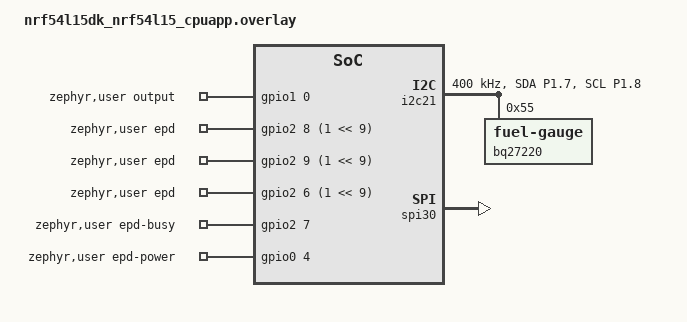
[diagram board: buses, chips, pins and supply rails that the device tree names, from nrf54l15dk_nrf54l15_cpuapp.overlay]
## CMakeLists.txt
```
cmake_minimum_required(VERSION 3.20.0)
find_package(Zephyr REQUIRED HINTS $ENV{ZEPHYR_BASE})

project(6colorpcbtest)

target_sources(app PRIVATE
  src/main.c
  src/battery_status.c
  src/bq27220.c
  src/ble/ble_image_transfer.c
  src/epd_driver.c
  src/dev_config.c
)
```

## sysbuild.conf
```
# Build and include MCUboot in the merged flash image.
SB_CONFIG_BOOTLOADER_MCUBOOT=y
```

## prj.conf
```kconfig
# UART20 status output and existing project peripherals.
CONFIG_SERIAL=n
CONFIG_CONSOLE=n
CONFIG_UART_CONSOLE=n
CONFIG_LOG=n
CONFIG_ADC_NRFX_SAADC=n
CONFIG_ADC=n
CONFIG_GPIO=y
CONFIG_I2C=y
CONFIG_SPI=y
CONFIG_PM_DEVICE=y

# Bluetooth Low Energy peripheral/advertiser.
CONFIG_BT=y
CONFIG_BT_PERIPHERAL=y
CONFIG_BT_DEVICE_NAME="nRF54L15-Simple"

# MCUboot image creation and flash access for firmware updates.
CONFIG_BOOTLOADER_MCUBOOT=y
CONFIG_MCUBOOT_IMGTOOL_SIGN_VERSION="1.0.2+0"
CONFIG_MCUBOOT_BOOTLOADER_NO_DOWNGRADE=y
CONFIG_FLASH=y
CONFIG_FLASH_MAP=y
CONFIG_STREAM_FLASH=y
CONFIG_IMG_MANAGER=y

# MCUmgr image management over an unauthenticated Bluetooth SMP service.
CONFIG_NET_BUF=y
CONFIG_ZCBOR=y
CONFIG_CRC=y
CONFIG_MCUMGR=y
CONFIG_MCUMGR_GRP_IMG=y
CONFIG_MCUMGR_GRP_OS=y
CONFIG_MCUMGR_TRANSPORT_BT=y
CONFIG_MCUMGR_TRANSPORT_BT_PERM_RW=y
CONFIG_MCUMGR_TRANSPORT_BT_CONN_PARAM_CONTROL=y
CONFIG_MCUMGR_TRANSPORT_BT_REASSEMBLY=y

# Buffers and stacks sized for BLE firmware upload packets.
CONFIG_BT_L2CAP_TX_MTU=498
CONFIG_BT_BUF_ACL_RX_SIZE=502
CONFIG_BT_BUF_ACL_TX_SIZE=502
CONFIG_BT_CTLR_DATA_LENGTH_MAX=251
CONFIG_BT_USER_DATA_LEN_UPDATE=y
CONFIG_BT_USER_PHY_UPDATE=y
CONFIG_BT_CTLR_PHY_2M=y
CONFIG_MCUMGR_TRANSPORT_NETBUF_SIZE=2475
CONFIG_MCUMGR_TRANSPORT_WORKQUEUE_STACK_SIZE=4608
CONFIG_SYSTEM_WORKQUEUE_STACK_SIZE=2304

CONFIG_CLOCK_CONTROL_NRF_K32SRC_RC=y
CONFIG_CLOCK_CONTROL_NRF_K32SRC_XTAL=n

CONFIG_FPROTECT=n
CONFIG_NRF_APPROTECT_DISABLE=y
CONFIG_NRF_SECURE_APPROTECT_DISABLE=y
```

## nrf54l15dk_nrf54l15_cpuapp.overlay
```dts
/* For more help, browse the devicetree documentation at https://docs.zephyrproject.org/latest/build/dts/index.html
 * You can also visit the nRF DeviceTree extension documentation at https://docs.nordicsemi.com/bundle/nrf-connect-vscode/page/guides/ncs_configure_app.html#devicetree-support-in-the-extension
 */

/ {
	zephyr,user {
		output-gpios = <&gpio1 0 0>;
		epd-gpios = <&gpio2 8 (1 << 9)>, <&gpio2 9 (1 << 9)>, <&gpio2 6 (1 << 9)>;
		epd-busy-gpios = <&gpio2 7 0>;
		epd-power-gpios = <&gpio0 4 0>;

		/delete-property/ p2_02-gpios;
	};
};

/delete-node/ &{/pin-controller/uart20_default/group2};

&i2c21 {
	compatible = "nordic,nrf-twim";
	status = "okay";
	clock-frequency = <I2C_BITRATE_FAST>;
	pinctrl-0 = <&i2c21_default>;
	pinctrl-1 = <&i2c21_sleep>;
	pinctrl-names = "default", "sleep";

	bq27220: fuel-gauge@55 {
		reg = <0x55>;
	};
};

&spi30 {
	status = "okay";
	max-frequency = <DT_FREQ_M(8)>;
	pinctrl-1 = <&spi30_sleep>;
	pinctrl-names = "default", "sleep";
};

&spi30_default {
	group1 {
		psels = <NRF_PSEL(SPIM_SCK, 0, 0)>;
	};
};

&spi30_default {
	group2 {
		psels = <NRF_PSEL(SPIM_MOSI, 0, 1)>;
	};
};

&pinctrl {
	i2c21_default: i2c21_default {
		group1 {
			psels = <NRF_PSEL(TWIM_SDA, 1, 7)>, <NRF_PSEL(TWIM_SCL, 1, 8)>;
		};
	};

	i2c21_sleep: i2c21_sleep {
		group1 {
			psels = <NRF_PSEL(TWIM_SDA, 1, 7)>,
				<NRF_PSEL(TWIM_SCL, 1, 8)>;
			low-power-enable;
		};
	};

	spi30_sleep: spi30_sleep {
		group1 {
			psels = <NRF_PSEL(SPIM_SCK, 0, 0)>,
				<NRF_PSEL(SPIM_MOSI, 0, 1)>;
			low-power-enable;
		};
	};
};

&uart20 {
	status = "disabled";
};

&adc {
	status = "disabled";
};

&pwm20 {
	status = "disabled";
};

&pwm_led1 {
	status = "disabled";
};

&ieee802154 {
	status = "disabled";
};

&mx25r64 {
	status = "disabled";
};
```

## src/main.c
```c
#include <errno.h>

#include <zephyr/bluetooth/bluetooth.h>
#include <zephyr/bluetooth/conn.h>
#include <zephyr/device.h>
#include <zephyr/devicetree.h>
#include <zephyr/drivers/spi.h>
#include <zephyr/kernel.h>

#include "battery_status.h"
#include "ble/ble_image_transfer.h"
#include "epd_driver.h"

#define GPIO1_NODE DT_NODELABEL(gpio0)

static const struct device *spi = DEVICE_DT_GET_OR_NULL(DT_NODELABEL(spi30));
static const struct device *gpiob_dev = DEVICE_DT_GET(GPIO1_NODE);
static struct bt_conn *active_conn;

#define ADV_INTERVAL_MIN 2400U /* 1.5 seconds */
#define ADV_INTERVAL_MAX 3200U /* 2.0 seconds */

static const struct bt_data advertising_data[] = {
	BT_DATA_BYTES(BT_DATA_FLAGS, (BT_LE_AD_GENERAL | BT_LE_AD_NO_BREDR)),
	BT_DATA(BT_DATA_NAME_COMPLETE, CONFIG_BT_DEVICE_NAME, sizeof(CONFIG_BT_DEVICE_NAME) - 1),
};

static const struct bt_le_adv_param advertising_param = {
	.id = BT_ID_DEFAULT,
	.options = BT_LE_ADV_OPT_CONN | BT_LE_ADV_OPT_USE_IDENTITY |
		   BT_LE_ADV_OPT_FILTER_SCAN_REQ,
	.interval_min = ADV_INTERVAL_MIN,
	.interval_max = ADV_INTERVAL_MAX,
	.peer = NULL,
};

static int start_advertising(void)
{
	return bt_le_adv_start(&advertising_param, advertising_data,
			       ARRAY_SIZE(advertising_data), NULL, 0);
}

static void advertising_work_handler(struct k_work *work)
{
	ARG_UNUSED(work);

	(void)start_advertising();
}

K_WORK_DEFINE(advertising_work, advertising_work_handler);

static void throughput_work_handler(struct k_work *work)
{
	struct bt_conn *conn;

	ARG_UNUSED(work);

	if (!active_conn) {
		return;
	}

	conn = bt_conn_ref(active_conn);

	(void)bt_conn_le_param_update(conn, BT_LE_CONN_PARAM(6, 12, 0, 400));

#if defined(CONFIG_BT_USER_DATA_LEN_UPDATE)
	(void)bt_conn_le_data_len_update(conn, BT_LE_DATA_LEN_PARAM_MAX);
#endif

#if defined(CONFIG_BT_USER_PHY_UPDATE)
	(void)bt_conn_le_phy_update(conn, BT_CONN_LE_PHY_PARAM_2M);
#endif

	bt_conn_unref(conn);
}

K_WORK_DELAYABLE_DEFINE(throughput_work, throughput_work_handler);

static void connected(struct bt_conn *conn, uint8_t err)
{
	if (err != 0) {
		k_work_submit(&advertising_work);
		return;
	}

	if (active_conn) {
		bt_conn_unref(active_conn);
	}

	active_conn = bt_conn_ref(conn);
	k_work_schedule(&throughput_work, K_MSEC(500));
}

static void disconnected(struct bt_conn *conn, uint8_t reason)
{
	ARG_UNUSED(conn);
	ARG_UNUSED(reason);

	k_work_cancel_delayable(&throughput_work);
	if (active_conn) {
		bt_conn_unref(active_conn);
		active_conn = NULL;
	}

	ble_image_transfer_reset();
}

static void recycled(void)
{
	/* Bluetooth API calls must not be made directly from this callback. */
	k_work_submit(&advertising_work);
}

BT_CONN_CB_DEFINE(connection_callbacks) = {
	.connected = connected,
	.disconnected = disconnected,
	.recycled = recycled,
};

int main(void)
{
	int ret;

	if (!spi || !device_is_ready(spi)) {
		return -ENODEV;
	}

	if (!device_is_ready(gpiob_dev)) {
		return -ENODEV;
	}

	ret = battery_status_init();
	if (ret != 0) {
		/* Battery monitoring is optional at boot so BLE/display still start. */
	}

	ret = epd_configure(spi, gpiob_dev);
	if (ret != 0) {
		return ret;
	}

	ret = epd_bus_suspend();
	if (ret != 0) {
		return ret;
	}

	ret = ble_image_transfer_init();
	if (ret != 0) {
		return ret;
	}

	ret = bt_enable(NULL);
	if (ret != 0) {
		return ret;
	}

	ret = start_advertising();
	if (ret != 0) {
		return ret;
	}

	while (true) {
		k_sleep(K_FOREVER);
	}
}
```

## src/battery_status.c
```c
#include "battery_status.h"

#include <errno.h>

#include <zephyr/devicetree.h>
#include <zephyr/sys/util.h>

#include "bq27220.h"

#define BQ27220_NODE DT_NODELABEL(bq27220)

static const struct i2c_dt_spec fuel_gauge_i2c = I2C_DT_SPEC_GET(BQ27220_NODE);
static struct bq27220 fuel_gauge;
static bool fuel_gauge_available;

int battery_status_init(void)
{
	int ret;

	ret = bq27220_init(&fuel_gauge, &fuel_gauge_i2c);
	fuel_gauge_available = (ret == 0);

	return ret;
}

int battery_status_read_percent(uint8_t *percent)
{
	uint16_t soc_pct;
	int ret;

	if (!percent) {
		return -EINVAL;
	}

	if (!fuel_gauge_available) {
		ret = bq27220_init(&fuel_gauge, &fuel_gauge_i2c);
		if (ret != 0) {
			return ret;
		}
		fuel_gauge_available = true;
	}

	ret = bq27220_read_state_of_charge_pct(&fuel_gauge, &soc_pct);
	if (ret != 0) {
		fuel_gauge_available = false;
		return ret;
	}

	*percent = (uint8_t)MIN(soc_pct, 100U);
	return 0;
}
```

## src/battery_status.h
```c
#ifndef BATTERY_STATUS_H
#define BATTERY_STATUS_H

#include <stdint.h>

int battery_status_init(void);
int battery_status_read_percent(uint8_t *percent);

#endif
```

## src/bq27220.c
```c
#include "bq27220.h"

#include <errno.h>
#include <string.h>

#include <zephyr/kernel.h>

#define BQ27220_CMD_CONTROL 0x00
#define BQ27220_CMD_TEMPERATURE 0x06
#define BQ27220_CMD_VOLTAGE 0x08
#define BQ27220_CMD_BATTERY_STATUS 0x0a
#define BQ27220_CMD_CURRENT 0x0c
#define BQ27220_CMD_REMAINING_CAPACITY 0x10
#define BQ27220_CMD_FULL_CHARGE_CAPACITY 0x12
#define BQ27220_CMD_TIME_TO_EMPTY 0x16
#define BQ27220_CMD_CYCLE_COUNT 0x2a
#define BQ27220_CMD_STATE_OF_CHARGE 0x2c
#define BQ27220_CMD_STATE_OF_HEALTH 0x2e
#define BQ27220_CMD_OPERATION_STATUS 0x3a

#define BQ27220_I2C_WAIT_US 66

static uint16_t bq27220_get_le16(const uint8_t data[2])
{
	return (uint16_t)data[0] | ((uint16_t)data[1] << 8);
}

static void bq27220_put_le16(uint8_t data[2], uint16_t value)
{
	data[0] = (uint8_t)value;
	data[1] = (uint8_t)(value >> 8);
}

int bq27220_init(struct bq27220 *gauge, const struct i2c_dt_spec *i2c)
{
	uint16_t voltage_mv;

	if (!gauge || !i2c) {
		return -EINVAL;
	}

	gauge->i2c = *i2c;

	if (!bq27220_is_ready(gauge)) {
		return -ENODEV;
	}

	return bq27220_read_voltage_mv(gauge, &voltage_mv);
}

bool bq27220_is_ready(const struct bq27220 *gauge)
{
	return gauge && i2c_is_ready_dt(&gauge->i2c);
}

int bq27220_read_word(const struct bq27220 *gauge, uint8_t command, uint16_t *value)
{
	uint8_t data[2];
	int ret;

	if (!gauge || !value) {
		return -EINVAL;
	}

	if (!bq27220_is_ready(gauge)) {
		return -ENODEV;
	}

	ret = i2c_write_read_dt(&gauge->i2c, &command, sizeof(command), data, sizeof(data));
	k_busy_wait(BQ27220_I2C_WAIT_US);
	if (ret != 0) {
		return ret;
	}

	*value = bq27220_get_le16(data);
	return 0;
}

int bq27220_write_word(const struct bq27220 *gauge, uint8_t command, uint16_t value)
{
	uint8_t data[3];
	int ret;

	if (!gauge) {
		return -EINVAL;
	}

	if (!bq27220_is_ready(gauge)) {
		return -ENODEV;
	}

	data[0] = command;
	bq27220_put_le16(&data[1], value);

	ret = i2c_write_dt(&gauge->i2c, data, sizeof(data));
	k_busy_wait(BQ27220_I2C_WAIT_US);

	return ret;
}

int bq27220_control(const struct bq27220 *gauge, enum bq27220_subcommand subcommand)
{
	return bq27220_write_word(gauge, BQ27220_CMD_CONTROL, (uint16_t)subcommand);
}

int bq27220_read_voltage_mv(const struct bq27220 *gauge, uint16_t *voltage_mv)
{
	return bq27220_read_word(gauge, BQ27220_CMD_VOLTAGE, voltage_mv);
}

int bq27220_read_current_ma(const struct bq27220 *gauge, int16_t *current_ma)
{
	uint16_t raw;
	int ret;

	if (!current_ma) {
		return -EINVAL;
	}

	ret = bq27220_read_word(gauge, BQ27220_CMD_CURRENT, &raw);
	if (ret != 0) {
		return ret;
	}

	*current_ma = (int16_t)raw;
	return 0;
}

int bq27220_read_state_of_charge_pct(const struct bq27220 *gauge, uint16_t *soc_pct)
{
	return bq27220_read_word(gauge, BQ27220_CMD_STATE_OF_CHARGE, soc_pct);
}

int bq27220_read_sample(const struct bq27220 *gauge, struct bq27220_sample *sample)
{
	uint16_t current_raw;
	int ret;

	if (!sample) {
		return -EINVAL;
	}

	memset(sample, 0, sizeof(*sample));

	ret = bq27220_read_word(gauge, BQ27220_CMD_VOLTAGE, &sample->voltage_mv);
	if (ret != 0) {
		return ret;
	}

	ret = bq27220_read_word(gauge, BQ27220_CMD_CURRENT, &current_raw);
	if (ret != 0) {
		return ret;
	}
	sample->current_ma = (int16_t)current_raw;

	ret = bq27220_read_word(gauge, BQ27220_CMD_TEMPERATURE, &sample->temperature_dk);
	if (ret != 0) {
		return ret;
	}
	sample->temperature_c_x10 = (int16_t)sample->temperature_dk - 2731;

	ret = bq27220_read_word(gauge, BQ27220_CMD_REMAINING_CAPACITY,
				&sample->remaining_capacity_mah);
	if (ret != 0) {
		return ret;
	}

	ret = bq27220_read_word(gauge, BQ27220_CMD_FULL_CHARGE_CAPACITY,
				&sample->full_charge_capacity_mah);
	if (ret != 0) {
		return ret;
	}

	ret = bq27220_read_word(gauge, BQ27220_CMD_STATE_OF_CHARGE,
				&sample->state_of_charge_pct);
	if (ret != 0) {
		return ret;
	}

	ret = bq27220_read_word(gauge, BQ27220_CMD_STATE_OF_HEALTH,
				&sample->state_of_health_pct);
	if (ret != 0) {
		return ret;
	}

	ret = bq27220_read_word(gauge, BQ27220_CMD_TIME_TO_EMPTY,
				&sample->time_to_empty_min);
	if (ret != 0) {
		return ret;
	}

	ret = bq27220_read_word(gauge, BQ27220_CMD_CYCLE_COUNT, &sample->cycle_count);
	if (ret != 0) {
		return ret;
	}

	ret = bq27220_read_word(gauge, BQ27220_CMD_BATTERY_STATUS,
				&sample->battery_status);
	if (ret != 0) {
		return ret;
	}

	return bq27220_read_word(gauge, BQ27220_CMD_OPERATION_STATUS,
				 &sample->operation_status);
}
```

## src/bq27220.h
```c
#ifndef BQ27220_H
#define BQ27220_H

#include <stdint.h>

#include <zephyr/drivers/i2c.h>

#define BQ27220_I2C_ADDR 0x55

enum bq27220_subcommand {
	BQ27220_SUBCMD_CONTROL_STATUS = 0x0000,
	BQ27220_SUBCMD_DEVICE_NUMBER = 0x0001,
	BQ27220_SUBCMD_FW_VERSION = 0x0002,
	BQ27220_SUBCMD_HW_VERSION = 0x0003,
	BQ27220_SUBCMD_OCV = 0x000c,
	BQ27220_SUBCMD_BAT_INSERT = 0x000d,
	BQ27220_SUBCMD_BAT_REMOVE = 0x000e,
	BQ27220_SUBCMD_SET_PROFILE_1 = 0x0015,
	BQ27220_SUBCMD_SET_PROFILE_2 = 0x0016,
	BQ27220_SUBCMD_SET_PROFILE_3 = 0x0017,
	BQ27220_SUBCMD_SEALED = 0x0030,
	BQ27220_SUBCMD_RESET = 0x0041,
	BQ27220_SUBCMD_OPERATION_STATUS = 0x0054,
	BQ27220_SUBCMD_GAUGING_STATUS = 0x0056,
	BQ27220_SUBCMD_ENTER_CFG_UPDATE = 0x0090,
	BQ27220_SUBCMD_EXIT_CFG_UPDATE_REINIT = 0x0091,
	BQ27220_SUBCMD_EXIT_CFG_UPDATE = 0x0092,
};

struct bq27220 {
	struct i2c_dt_spec i2c;
};

struct bq27220_sample {
	uint16_t voltage_mv;
	int16_t current_ma;
	uint16_t temperature_dk;
	int16_t temperature_c_x10;
	uint16_t remaining_capacity_mah;
	uint16_t full_charge_capacity_mah;
	uint16_t state_of_charge_pct;
	uint16_t state_of_health_pct;
	uint16_t time_to_empty_min;
	uint16_t cycle_count;
	uint16_t battery_status;
	uint16_t operation_status;
};

int bq27220_init(struct bq27220 *gauge, const struct i2c_dt_spec *i2c);
bool bq27220_is_ready(const struct bq27220 *gauge);

int bq27220_read_word(const struct bq27220 *gauge, uint8_t command, uint16_t *value);
int bq27220_write_word(const struct bq27220 *gauge, uint8_t command, uint16_t value);
int bq27220_control(const struct bq27220 *gauge, enum bq27220_subcommand subcommand);

int bq27220_read_voltage_mv(const struct bq27220 *gauge, uint16_t *voltage_mv);
int bq27220_read_current_ma(const struct bq27220 *gauge, int16_t *current_ma);
int bq27220_read_state_of_charge_pct(const struct bq27220 *gauge, uint16_t *soc_pct);
int bq27220_read_sample(const struct bq27220 *gauge, struct bq27220_sample *sample);

#endif
```

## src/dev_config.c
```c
#include "dev_config.h"

#include <zephyr/devicetree.h>
#include <zephyr/drivers/gpio.h>
#include <zephyr/drivers/spi.h>
#include <zephyr/kernel.h>
#include <zephyr/sys/util.h>

#define EPD_NODE DT_PATH(zephyr_user)

BUILD_ASSERT(DT_NODE_EXISTS(EPD_NODE), "zephyr,user node is required");
BUILD_ASSERT(DT_PROP_LEN(EPD_NODE, epd_gpios) >= 3,
             "zephyr,user must define dc/cs/rst in epd-gpios");

static const struct gpio_dt_spec epd_dc =
    GPIO_DT_SPEC_GET_BY_IDX(EPD_NODE, epd_gpios, 0);
static const struct gpio_dt_spec epd_cs =
    GPIO_DT_SPEC_GET_BY_IDX(EPD_NODE, epd_gpios, 1);
static const struct gpio_dt_spec epd_rst =
    GPIO_DT_SPEC_GET_BY_IDX(EPD_NODE, epd_gpios, 2);

#if DT_NODE_HAS_PROP(EPD_NODE, epd_power_gpios)
static const struct gpio_dt_spec epd_power =
    GPIO_DT_SPEC_GET(EPD_NODE, epd_power_gpios);
#define DEV_CONFIG_HAS_POWER 1
#else
#define DEV_CONFIG_HAS_POWER 0
#endif

static const struct device *epd_spi_dev;

static const struct spi_config epd_spi_cfg = {
    .frequency = 4000000U,
    .operation = SPI_OP_MODE_MASTER | SPI_WORD_SET(8) | SPI_TRANSFER_MSB,
    .slave = 0U,
    .cs = {
        .gpio = { 0 },
        .delay = 0U,
    },
};

static const struct gpio_dt_spec *dev_lookup_gpio(uint8_t pin) {
  switch (pin) {
  case DEV_PIN_DC:
    return &epd_dc;
  case DEV_PIN_CS:
    return &epd_cs;
  case DEV_PIN_RST:
    return &epd_rst;
#if DEV_CONFIG_HAS_POWER
  case DEV_PIN_PWR:
    return &epd_power;
#endif
  default:
    return NULL;
  }
}

static int dev_configure_output(const struct gpio_dt_spec *spec, int value) {
  int ret;

  if (!spec || !device_is_ready(spec->port)) {
    return -ENODEV;
  }

  ret = gpio_pin_configure_dt(spec, GPIO_OUTPUT);
  if (ret != 0) {
    return ret;
  }

  return gpio_pin_set_dt(spec, value);
}

static int dev_configure_raw_low(const struct gpio_dt_spec *spec) {
  if (!spec || !device_is_ready(spec->port)) {
    return -ENODEV;
  }

  return gpio_pin_configure(spec->port, spec->pin, GPIO_OUTPUT_LOW);
}

static int dev_disconnect_pin(const struct gpio_dt_spec *spec) {
  if (!spec || !device_is_ready(spec->port)) {
    return -ENODEV;
  }

  return gpio_pin_configure(spec->port, spec->pin, GPIO_DISCONNECTED);
}

static void dev_store_first_error(int *err, int ret) {
  if (*err == 0 && ret != 0) {
    *err = ret;
  }
}

int DEV_Module_Init(const struct device *spi_dev, const struct device *gpio_dev) {
  int ret;

  ARG_UNUSED(gpio_dev);

  epd_spi_dev = spi_dev;
  if (!epd_spi_dev || !device_is_ready(epd_spi_dev)) {
    return -ENODEV;
  }

  ret = dev_configure_output(&epd_cs, 1);
  if (ret != 0) {
    return ret;
  }

  ret = dev_configure_output(&epd_dc, 0);
  if (ret != 0) {
    return ret;
  }

  ret = dev_configure_output(&epd_rst, 1);
  if (ret != 0) {
    return ret;
  }

#if DEV_CONFIG_HAS_POWER
  ret = dev_configure_output(&epd_power, 1);
  if (ret != 0) {
    return ret;
  }
#endif

  return 0;
}

void DEV_GPIO_Init(void) {}

void DEV_SPI_Init(void) {}

int DEV_Digital_Write(uint8_t pin, uint8_t value) {
  const struct gpio_dt_spec *spec = dev_lookup_gpio(pin);

  if (!spec) {
    return -ENOTSUP;
  }

  return gpio_pin_set_dt(spec, value);
}

int DEV_Digital_Read(uint8_t pin) {
  const struct gpio_dt_spec *spec = dev_lookup_gpio(pin);

  if (!spec) {
    return -ENOTSUP;
  }

  return gpio_pin_get_raw(spec->port, spec->pin);
}

void DEV_Delay_ms(uint32_t xms) { k_msleep(xms); }

int DEV_SPI_WriteByte(uint8_t data) {
  struct spi_buf tx_buf = {
      .buf = &data,
      .len = 1U,
  };
  struct spi_buf_set tx = {
      .buffers = &tx_buf,
      .count = 1U,
  };

  if (!epd_spi_dev) {
    return -ENODEV;
  }

  return spi_write(epd_spi_dev, &epd_spi_cfg, &tx);
}

int DEV_SPI_Write_nByte(const uint8_t *data, uint32_t len) {
  struct spi_buf tx_buf = {
      .buf = (void *)data,
      .len = len,
  };
  struct spi_buf_set tx = {
      .buffers = &tx_buf,
      .count = 1U,
  };

  if (!epd_spi_dev) {
    return -ENODEV;
  }

  return spi_write(epd_spi_dev, &epd_spi_cfg, &tx);
}

int DEV_Module_Exit(void) {
  int ret = 0;

  dev_store_first_error(&ret, dev_configure_raw_low(&epd_dc));
  dev_store_first_error(&ret, dev_configure_raw_low(&epd_cs));
  dev_store_first_error(&ret, dev_configure_raw_low(&epd_rst));

#if DEV_CONFIG_HAS_POWER
  dev_store_first_error(&ret, dev_configure_raw_low(&epd_power));
#endif

  dev_store_first_error(&ret, dev_disconnect_pin(&epd_dc));
  dev_store_first_error(&ret, dev_disconnect_pin(&epd_cs));
  dev_store_first_error(&ret, dev_disconnect_pin(&epd_rst));

  return ret;
}
```

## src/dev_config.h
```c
#ifndef DEV_CONFIG_H
#define DEV_CONFIG_H

#include <stdbool.h>
#include <stdint.h>
#include <zephyr/device.h>

typedef uint8_t UBYTE;
typedef uint16_t UWORD;
typedef uint32_t UDOUBLE;

enum dev_gpio_pin {
  DEV_PIN_DC = 0,
  DEV_PIN_CS,
  DEV_PIN_RST,
  DEV_PIN_PWR,
};

#define EPD_DC_PIN DEV_PIN_DC
#define EPD_CS_PIN DEV_PIN_CS
#define EPD_RST_PIN DEV_PIN_RST
#define EPD_PWR_PIN DEV_PIN_PWR

#define GPIO_PIN_SET 1
#define GPIO_PIN_RESET 0

int DEV_Module_Init(const struct device *spi_dev, const struct device *gpio_dev);
void DEV_GPIO_Init(void);
void DEV_SPI_Init(void);
int DEV_Digital_Write(uint8_t pin, uint8_t value);
int DEV_Digital_Read(uint8_t pin);
void DEV_Delay_ms(uint32_t xms);
int DEV_SPI_WriteByte(uint8_t data);
int DEV_SPI_Write_nByte(const uint8_t *data, uint32_t len);
int DEV_Module_Exit(void);

#endif
```

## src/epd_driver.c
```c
#include "dev_config.h"
#include "epd_interface.h"

#include <string.h>
#include <zephyr/devicetree.h>
#include <zephyr/logging/log.h>
#include <zephyr/sys/util.h>
#if defined(CONFIG_PM_DEVICE)
#include <zephyr/pm/device.h>
#endif

LOG_MODULE_REGISTER(epd_driver_type2);

#define EPD_4IN0E_WIDTH 400U
#define EPD_4IN0E_HEIGHT 600U
#define EPD_4IN0E_ROW_BYTES ((EPD_4IN0E_WIDTH + 1U) / 2U)
#define EPD_4IN0E_IMAGE_BYTES (EPD_4IN0E_ROW_BYTES * EPD_4IN0E_HEIGHT)
#define EPD_4IN0E_BUSY_TIMEOUT_MS 45000
#define EPD_4IN0E_CHUNK_BYTES 64U
#define EPD_NODE DT_PATH(zephyr_user)

#define EPD_4IN0E_BLACK 0x0U
#define EPD_4IN0E_WHITE 0x1U
#define EPD_4IN0E_YELLOW 0x2U
#define EPD_4IN0E_RED 0x3U
#define EPD_4IN0E_BLUE 0x5U
#define EPD_4IN0E_GREEN 0x6U

static const struct device *epd_spi_dev;
static bool epd_hibernating;
static bool epd_ready;
static const struct gpio_dt_spec epd_busy =
    GPIO_DT_SPEC_GET(EPD_NODE, epd_busy_gpios);

static uint8_t epd_color_from_legacy_value(uint8_t value) {
  if (value == 0x00U) {
    return EPD_4IN0E_BLACK;
  }

  if (value == 0x01U || value == 0xFFU) {
    return EPD_4IN0E_WHITE;
  }

  if (value == EPD_4IN0E_BLACK || value == EPD_4IN0E_WHITE ||
      value == EPD_4IN0E_YELLOW || value == EPD_4IN0E_RED ||
      value == EPD_4IN0E_BLUE || value == EPD_4IN0E_GREEN) {
    return value;
  }

  return EPD_4IN0E_WHITE;
}

static int epd_send_command(uint8_t reg) {
  int ret;

  ret = DEV_Digital_Write(EPD_DC_PIN, GPIO_PIN_RESET);
  if (ret != 0) {
    return ret;
  }

  ret = DEV_Digital_Write(EPD_CS_PIN, GPIO_PIN_RESET);
  if (ret != 0) {
    return ret;
  }

  ret = DEV_SPI_WriteByte(reg);
  (void)DEV_Digital_Write(EPD_CS_PIN, GPIO_PIN_SET);
  return ret;
}

static int epd_send_data(uint8_t data) {
  int ret;

  ret = DEV_Digital_Write(EPD_DC_PIN, GPIO_PIN_SET);
  if (ret != 0) {
    return ret;
  }

  ret = DEV_Digital_Write(EPD_CS_PIN, GPIO_PIN_RESET);
  if (ret != 0) {
    return ret;
  }

  ret = DEV_SPI_WriteByte(data);
  (void)DEV_Digital_Write(EPD_CS_PIN, GPIO_PIN_SET);
  return ret;
}

static int epd_send_buffer(const uint8_t *data, size_t len) {
  int ret;

  ret = DEV_Digital_Write(EPD_DC_PIN, GPIO_PIN_SET);
  if (ret != 0) {
    return ret;
  }

  ret = DEV_Digital_Write(EPD_CS_PIN, GPIO_PIN_RESET);
  if (ret != 0) {
    return ret;
  }

  ret = DEV_SPI_Write_nByte(data, len);
  (void)DEV_Digital_Write(EPD_CS_PIN, GPIO_PIN_SET);
  return ret;
}

static int epd_reset(void) {
  int ret;

  ret = DEV_Digital_Write(EPD_RST_PIN, GPIO_PIN_SET);
  if (ret != 0) {
    return ret;
  }
  DEV_Delay_ms(20);

  ret = DEV_Digital_Write(EPD_RST_PIN, GPIO_PIN_RESET);
  if (ret != 0) {
    return ret;
  }
  DEV_Delay_ms(2);

  ret = DEV_Digital_Write(EPD_RST_PIN, GPIO_PIN_SET);
  if (ret != 0) {
    return ret;
  }
  DEV_Delay_ms(20);

  epd_hibernating = false;
  return 0;
}

static int epd_wait_idle(void) {
  int timeout_ms;
  int busy_level;

  if (!device_is_ready(epd_busy.port)) {
    return -ENODEV;
  }

  timeout_ms = EPD_4IN0E_BUSY_TIMEOUT_MS;
  while (timeout_ms > 0) {
    busy_level = gpio_pin_get_dt(&epd_busy);

    if (busy_level < 0) {
      return busy_level;
    }
    if (busy_level != 0) {
      DEV_Delay_ms(200);
      return 0;
    }

    DEV_Delay_ms(10);
    timeout_ms -= 10;
  }

  LOG_ERR("EPD busy timeout");
  return -ETIMEDOUT;
}

static int epd_turn_on_display(void) {
  int ret;

  ret = epd_send_command(0x04);
  if (ret != 0) {
    return ret;
  }
  ret = epd_wait_idle();
  if (ret != 0) {
    return ret;
  }
  DEV_Delay_ms(200);

  ret = epd_send_command(0x06);
  if (ret != 0) {
    return ret;
  }
  ret = epd_send_data(0x6F);
  if (ret != 0) {
    return ret;
  }
  ret = epd_send_data(0x1F);
  if (ret != 0) {
    return ret;
  }
  ret = epd_send_data(0x17);
  if (ret != 0) {
    return ret;
  }
  ret = epd_send_data(0x27);
  if (ret != 0) {
    return ret;
  }
  DEV_Delay_ms(200);

  ret = epd_send_command(0x12);
  if (ret != 0) {
    return ret;
  }
  ret = epd_send_data(0x00);
  if (ret != 0) {
    return ret;
  }
  ret = epd_wait_idle();
  if (ret != 0) {
    return ret;
  }

  ret = epd_send_command(0x02);
  if (ret != 0) {
    return ret;
  }
  ret = epd_send_data(0x00);
  if (ret != 0) {
    return ret;
  }
  ret = epd_wait_idle();
  if (ret != 0) {
    return ret;
  }

  DEV_Delay_ms(200);
  return 0;
}

static int epd_panel_init(void) {
  int ret;

  ret = epd_reset();
  if (ret != 0) {
    return ret;
  }
  ret = epd_wait_idle();
  if (ret != 0) {
    return ret;
  }
  DEV_Delay_ms(30);

  ret = epd_send_command(0xAA);
  if (ret != 0) {
    return ret;
  }
  ret = epd_send_data(0x49);
  if (ret != 0) {
    return ret;
  }
  ret = epd_send_data(0x55);
  if (ret != 0) {
    return ret;
  }
  ret = epd_send_data(0x20);
  if (ret != 0) {
    return ret;
  }
  ret = epd_send_data(0x08);
  if (ret != 0) {
    return ret;
  }
  ret = epd_send_data(0x09);
  if (ret != 0) {
    return ret;
  }
  ret = epd_send_data(0x18);
  if (ret != 0) {
    return ret;
  }

  ret = epd_send_command(0x01);
  if (ret != 0) {
    return ret;
  }
  ret = epd_send_data(0x3F);
  if (ret != 0) {
    return ret;
  }

  ret = epd_send_command(0x00);
  if (ret != 0) {
    return ret;
  }
  ret = epd_send_data(0x5F);
  if (ret != 0) {
    return ret;
  }
  ret = epd_send_data(0x69);
  if (ret != 0) {
    return ret;
  }

  ret = epd_send_command(0x05);
  if (ret != 0) {
    return ret;
  }
  ret = epd_send_data(0x40);
  if (ret != 0) {
    return ret;
  }
  ret = epd_send_data(0x1F);
  if (ret != 0) {
    return ret;
  }
  ret = epd_send_data(0x1F);
  if (ret != 0) {
    return ret;
  }
  ret = epd_send_data(0x2C);
  if (ret != 0) {
    return ret;
  }

  ret = epd_send_command(0x08);
  if (ret != 0) {
    return ret;
  }
  ret = epd_send_data(0x6F);
  if (ret != 0) {
    return ret;
  }
  ret = epd_send_data(0x1F);
  if (ret != 0) {
    return ret;
  }
  ret = epd_send_data(0x1F);
  if (ret != 0) {
    return ret;
  }
  ret = epd_send_data(0x22);
  if (ret != 0) {
    return ret;
  }

  ret = epd_send_command(0x06);
  if (ret != 0) {
    return ret;
  }
  ret = epd_send_data(0x6F);
  if (ret != 0) {
    return ret;
  }
  ret = epd_send_data(0x1F);
  if (ret != 0) {
    return ret;
  }
  ret = epd_send_data(0x17);
  if (ret != 0) {
    return ret;
  }
  ret = epd_send_data(0x17);
  if (ret != 0) {
    return ret;
  }

  ret = epd_send_command(0x03);
  if (ret != 0) {
    return ret;
  }
  ret = epd_send_data(0x00);
  if (ret != 0) {
    return ret;
  }
  ret = epd_send_data(0x54);
  if (ret != 0) {
    return ret;
  }
  ret = epd_send_data(0x00);
  if (ret != 0) {
    return ret;
  }
  ret = epd_send_data(0x44);
  if (ret != 0) {
    return ret;
  }

  ret = epd_send_command(0x60);
  if (ret != 0) {
    return ret;
  }
  ret = epd_send_data(0x02);
  if (ret != 0) {
    return ret;
  }
  ret = epd_send_data(0x00);
  if (ret != 0) {
    return ret;
  }

  ret = epd_send_command(0x30);
  if (ret != 0) {
    return ret;
  }
  ret = epd_send_data(0x08);
  if (ret != 0) {
    return ret;
  }

  ret = epd_send_command(0x50);
  if (ret != 0) {
    return ret;
  }
  ret = epd_send_data(0x3F);
  if (ret != 0) {
    return ret;
  }

  ret = epd_send_command(0x61);
  if (ret != 0) {
    return ret;
  }
  ret = epd_send_data(0x01);
  if (ret != 0) {
    return ret;
  }
  ret = epd_send_data(0x90);
  if (ret != 0) {
    return ret;
  }
  ret = epd_send_data(0x02);
  if (ret != 0) {
    return ret;
  }
  ret = epd_send_data(0x58);
  if (ret != 0) {
    return ret;
  }

  ret = epd_send_command(0xE3);
  if (ret != 0) {
    return ret;
  }
  ret = epd_send_data(0x2F);
  if (ret != 0) {
    return ret;
  }

  ret = epd_send_command(0x84);
  if (ret != 0) {
    return ret;
  }
  ret = epd_send_data(0x01);
  if (ret != 0) {
    return ret;
  }
  ret = epd_wait_idle();
  if (ret != 0) {
    return ret;
  }

  epd_ready = true;
  return 0;
}

static int epd_store_first_error(int ret, int fallback) {
  return ret == 0 ? fallback : ret;
}

static int epd_disconnect_busy(void) {
  if (!device_is_ready(epd_busy.port)) {
    return -ENODEV;
  }

  return gpio_pin_configure(epd_busy.port, epd_busy.pin, GPIO_DISCONNECTED);
}

static int epd_module_start(void) {
  int ret;

  if (!epd_spi_dev || !device_is_ready(epd_spi_dev)) {
    return -ENODEV;
  }

  if (!device_is_ready(epd_busy.port)) {
    return -ENODEV;
  }

  ret = DEV_Module_Init(epd_spi_dev, NULL);
  if (ret != 0) {
    return ret;
  }

  return gpio_pin_configure_dt(&epd_busy, GPIO_INPUT);
}

static int epd_module_stop(void) {
  int ret;

  ret = DEV_Module_Exit();
  ret = epd_store_first_error(ret, epd_disconnect_busy());

  epd_ready = false;
  epd_hibernating = false;

  return ret;
}

static int epd_prepare_update(void) {
  int ret;

  if (!epd_ready || epd_hibernating) {
    ret = epd_module_start();
    if (ret != 0) {
      return ret;
    }

    return epd_panel_init();
  }

  return 0;
}

int epd_bus_resume(void) {
#if defined(CONFIG_PM_DEVICE)
  int ret;

  if (!epd_spi_dev) {
    return -ENODEV;
  }

  ret = pm_device_action_run(epd_spi_dev, PM_DEVICE_ACTION_RESUME);
  return ret == -EALREADY ? 0 : ret;
#else
  return 0;
#endif
}

int epd_bus_suspend(void) {
#if defined(CONFIG_PM_DEVICE)
  int ret;

  if (!epd_spi_dev) {
    return -ENODEV;
  }

  ret = pm_device_action_run(epd_spi_dev, PM_DEVICE_ACTION_SUSPEND);
  return ret == -EALREADY ? 0 : ret;
#else
  return 0;
#endif
}

int epd_init(const struct device *spi_dev, const struct device *gpio_dev) {
  int ret;

  ret = epd_configure(spi_dev, gpio_dev);
  if (ret != 0) {
    return ret;
  }

  ret = epd_module_start();
  if (ret != 0) {
    return ret;
  }

  ret = epd_panel_init();
  if (ret != 0) {
    (void)epd_module_stop();
    return ret;
  }

  return epd_hibernate();
}

int epd_configure(const struct device *spi_dev, const struct device *gpio_dev) {
  epd_spi_dev = spi_dev;
  ARG_UNUSED(gpio_dev);

  if (!epd_spi_dev || !device_is_ready(epd_spi_dev)) {
    return -ENODEV;
  }

  if (!device_is_ready(epd_busy.port)) {
    return -ENODEV;
  }

  return epd_module_stop();
}

int epd_clear_screen(uint8_t black_value, uint8_t color_value) {
  uint8_t chunk[EPD_4IN0E_CHUNK_BYTES];
  uint8_t packed_color;
  uint32_t remaining;
  int ret;

  ARG_UNUSED(color_value);

  ret = epd_prepare_update();
  if (ret != 0) {
    return ret;
  }

  packed_color = epd_color_from_legacy_value(black_value);
  packed_color = (uint8_t)((packed_color << 4) | packed_color);
  memset(chunk, packed_color, sizeof(chunk));

  ret = epd_send_command(0x10);
  if (ret != 0) {
    return ret;
  }

  remaining = EPD_4IN0E_IMAGE_BYTES;
  while (remaining > 0U) {
    uint32_t write_len = MIN(remaining, (uint32_t)sizeof(chunk));

    ret = epd_send_buffer(chunk, write_len);
    if (ret != 0) {
      return ret;
    }

    remaining -= write_len;
  }

  return epd_turn_on_display();
}

int epd_clear_white(void) {
  return epd_clear_screen(EPD_4IN0E_WHITE, EPD_4IN0E_WHITE);
}

int epd_clear_black(void) {
  return epd_clear_screen(EPD_4IN0E_BLACK, EPD_4IN0E_BLACK);
}

int epd_power_off(void) {
  int ret;

  if (!epd_ready) {
    return 0;
  }

  ret = epd_send_command(0x02);
  if (ret != 0) {
    return ret;
  }
  ret = epd_send_data(0x00);
  if (ret != 0) {
    return ret;
  }

  return epd_wait_idle();
}

int epd_hibernate(void) {
  int ret;

  if (!epd_ready) {
    return 0;
  }

  ret = epd_send_command(0x07);
  if (ret != 0) {
    return ret;
  }
  ret = epd_send_data(0xA5);
  if (ret != 0) {
    return ret;
  }

  epd_hibernating = true;
  return 0;
}

int epd_power_down(void) {
  int ret = 0;

  if (epd_ready && !epd_hibernating) {
    ret = epd_hibernate();
  }

  ret = epd_store_first_error(ret, epd_module_stop());
  return ret;
}

int display_image(const uint8_t *buffer) {
  int ret;

  if (!buffer) {
    return -EINVAL;
  }

  ret = epd_prepare_update();
  if (ret != 0) {
    return ret;
  }

  ret = epd_send_command(0x10);
  if (ret != 0) {
    return ret;
  }

  for (uint16_t row = 0U; row < EPD_4IN0E_HEIGHT; ++row) {
    const uint8_t *row_data = buffer + ((size_t)row * EPD_4IN0E_ROW_BYTES);

    ret = epd_send_buffer(row_data, EPD_4IN0E_ROW_BYTES);
    if (ret != 0) {
      return ret;
    }
  }

  return epd_turn_on_display();
}

void drawBitmap(int16_t x, int16_t y, const uint8_t *bitmap, int16_t w,
                int16_t h, bool color) {
  ARG_UNUSED(x);
  ARG_UNUSED(y);
  ARG_UNUSED(bitmap);
  ARG_UNUSED(w);
  ARG_UNUSED(h);
  ARG_UNUSED(color);
}
```

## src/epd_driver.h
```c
#ifndef EPD_DRIVER_H
#define EPD_DRIVER_H

#include <zephyr/device.h>
#include <zephyr/drivers/gpio.h>
#include <zephyr/drivers/spi.h>
#include <zephyr/kernel.h>

#ifndef EPD_PANEL_WIDTH
#define EPD_PANEL_WIDTH 400U
#define EPD_PANEL_HEIGHT 600U
#define EPD_6COLOR_IMAGE_BYTES (EPD_PANEL_WIDTH * EPD_PANEL_HEIGHT / 2U)
#endif

int epd_init(const struct device *spi_dev, const struct device *gpio_dev);
int epd_configure(const struct device *spi_dev, const struct device *gpio_dev);
int epd_clear_screen(uint8_t black_value, uint8_t color_value);
int epd_clear_white(void);
int epd_clear_black(void);
int epd_hibernate(void);
int epd_power_off(void);
int epd_power_down(void);
int display_image(const uint8_t *buffer);
int epd_bus_resume(void);
int epd_bus_suspend(void);
void drawBitmap(int16_t x, int16_t y, const uint8_t *bitmap, int16_t w,
                int16_t h, bool color);

#endif
```

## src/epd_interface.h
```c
#ifndef EPD_INTERFACE_H
#define EPD_INTERFACE_H

#include <zephyr/device.h>
#include <zephyr/drivers/gpio.h>
#include <zephyr/drivers/spi.h>
#include <zephyr/kernel.h>

#ifndef EPD_PANEL_WIDTH
#define EPD_PANEL_WIDTH 400U
#define EPD_PANEL_HEIGHT 600U
#define EPD_6COLOR_IMAGE_BYTES (EPD_PANEL_WIDTH * EPD_PANEL_HEIGHT / 2U)
#endif

/**
 * @brief Initialize the e-ink display driver
 */
int epd_init(const struct device *spi_dev, const struct device *gpio_dev);

/**
 * @brief Store the e-ink devices and leave the display powered off
 */
int epd_configure(const struct device *spi_dev, const struct device *gpio_dev);

/**
 * @brief Clear the screen with specified values
 */
int epd_clear_screen(uint8_t black_value, uint8_t color_value);

/**
 * @brief Clear the screen to white
 */
int epd_clear_white(void);

/**
 * @brief Clear the screen to black
 */
int epd_clear_black(void);

/**
 * @brief Put the display into hibernation mode
 */
int epd_hibernate(void);

/**
 * @brief Turn display power off
 */
int epd_power_off(void);

/**
 * @brief Hibernate the display, disable panel power, and release EPD pins
 */
int epd_power_down(void);

/**
 * @brief Display an image buffer
 */
int display_image(const uint8_t *buffer);

/**
 * @brief Resume the display SPI device (power management).
 *
 * This is a no-op if device PM is not enabled.
 */
int epd_bus_resume(void);

/**
 * @brief Suspend the display SPI device (power management).
 *
 * This is a no-op if device PM is not enabled.
 */
int epd_bus_suspend(void);

/*
 * Helper prototype for drawing bitmaps if needed by app,
 * though strictly this might be better in a graphics library.
 */
void drawBitmap(int16_t x, int16_t y, const uint8_t *bitmap, int16_t w,
                int16_t h, bool color);

#endif /* EPD_INTERFACE_H */
```
